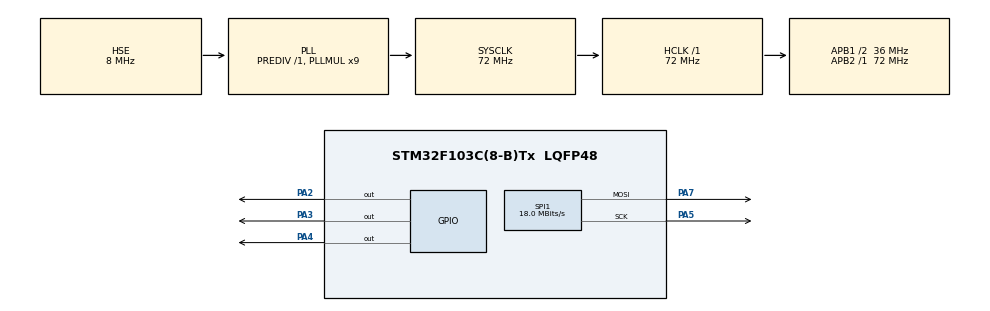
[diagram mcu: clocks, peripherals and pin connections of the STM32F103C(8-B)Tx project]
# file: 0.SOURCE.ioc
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Mcu.Family=STM32F1
Mcu.Name=STM32F103C(8-B)Tx
Mcu.Package=LQFP48
NVIC.PriorityGroup=NVIC_PRIORITYGROUP_4
PA2.Signal=GPIO_Output
PA3.Signal=GPIO_Output
PA4.Signal=GPIO_Output
PA5.Mode=TX_Only_Simplex_Unidirect_Master
PA5.Signal=SPI1_SCK
PA7.Mode=TX_Only_Simplex_Unidirect_Master
PA7.Signal=SPI1_MOSI
PD0-OSC_IN.Mode=HSE-External-Oscillator
PD0-OSC_IN.Signal=RCC_OSC_IN
PD1-OSC_OUT.Mode=HSE-External-Oscillator
PD1-OSC_OUT.Signal=RCC_OSC_OUT
ProjectManager.HeapSize=0x200
ProjectManager.StackSize=0x400
ProjectManager.TargetToolchain=MDK-ARM V5
RCC.AHBFreq_Value=72000000
RCC.APB1CLKDivider=RCC_HCLK_DIV2
RCC.APB1Freq_Value=36000000
RCC.APB1TimFreq_Value=72000000
RCC.APB2Freq_Value=72000000
RCC.APB2TimFreq_Value=72000000
RCC.HCLKFreq_Value=72000000
RCC.PLLMUL=RCC_PLL_MUL9
RCC.PLLSourceVirtual=RCC_PLLSOURCE_HSE
RCC.SYSCLKFreq_VALUE=72000000
RCC.SYSCLKSource=RCC_SYSCLKSOURCE_PLLCLK
RCC.USBFreq_Value=72000000
SPI1.BaudRatePrescaler=SPI_BAUDRATEPRESCALER_4
SPI1.CalculateBaudRate=18.0 MBits/s
SPI1.Direction=SPI_DIRECTION_2LINES
SPI1.Mode=SPI_MODE_MASTER
SPI1.VirtualType=VM_MASTER
VP_SYS_VS_ND.Mode=No_Debug
board=custom

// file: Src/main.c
/* USER CODE BEGIN Header */
/**
  ******************************************************************************
  * @file           : main.c
  * @brief          : Main program body
  ******************************************************************************
  * @attention
  *
  * <h2><center>&copy; Copyright (c) 2023 STMicroelectronics.
  * All rights reserved.</center></h2>
  *
  * This software component is licensed by ST under BSD 3-Clause license,
  * the "License"; You may not use this file except in compliance with the
  * License. You may obtain a copy of the License at:
  *                        opensource.org/licenses/BSD-3-Clause
  *
  ******************************************************************************
  */
/* USER CODE END Header */

#include "main.h"
#include "usart.h"
#include "gpio.h"
#include "oled.h"
#include "spi.h"
#include "key.h"
#include "delay.h"
#include "vl53l0x_api.h"
#include "filter.h"
#include "ST_I2C.h"

/* USER CODE BEGIN PTD */

__IO uint32_t oled_setpoint = 0;
__IO uint32_t key_setpoint = 0;
__IO uint32_t key_push_setpoint = 0;
uint8_t oled_string[20]= {0};
uint8_t key_change_long_short = 0;
uint8_t temp = 0;
uint8_t key_v, key_u, key_d , key_o;
uint8_t state = 1;

uint16_t set_distance = 400;
/* USER CODE END PTD */

void SystemClock_Config(void);
void OLED_PROC(void);
void KEY_PROC(void);
void LAST_JUDGE_PROC(void);
/* USER CODE BEGIN PFP */
//extern void VL53L0X_Init(void);
//extern uint16_t VL53L0X_GetValue(void);
/* USER CODE END PFP */

int main(void)
{

  /* MCU Configuration--------------------------------------------------------*/

  /* Reset of all peripherals, Initializes the Flash interface and the Systick. */
  HAL_Init();

  /* Configure the system clock */
  SystemClock_Config();

	delay_init(72);
  /* Initialize all configured peripherals */
  MX_GPIO_Init();
  MX_SPI1_Init();
	OLED_Init();
	OLED_Clear();

	VL53L0X_Init();

  /* Infinite loop */
  while (1)
  {

		OLED_PROC();
		KEY_PROC();
		LAST_JUDGE_PROC();
  }
}

void SystemClock_Config(void)
{
  RCC_OscInitTypeDef RCC_OscInitStruct = {0};
  RCC_ClkInitTypeDef RCC_ClkInitStruct = {0};

  /** Initializes the RCC Oscillators according to the specified parameters
  * in the RCC_OscInitTypeDef structure.
  */
  RCC_OscInitStruct.OscillatorType = RCC_OSCILLATORTYPE_HSE;
  RCC_OscInitStruct.HSEState = RCC_HSE_ON;
  RCC_OscInitStruct.HSEPredivValue = RCC_HSE_PREDIV_DIV1;
  RCC_OscInitStruct.HSIState = RCC_HSI_ON;
  RCC_OscInitStruct.PLL.PLLState = RCC_PLL_ON;
  RCC_OscInitStruct.PLL.PLLSource = RCC_PLLSOURCE_HSE;
  RCC_OscInitStruct.PLL.PLLMUL = RCC_PLL_MUL9;
  if (HAL_RCC_OscConfig(&RCC_OscInitStruct) != HAL_OK)
  {
    Error_Handler();
  }
  /** Initializes the CPU, AHB and APB buses clocks
  */
  RCC_ClkInitStruct.ClockType = RCC_CLOCKTYPE_HCLK|RCC_CLOCKTYPE_SYSCLK
                              |RCC_CLOCKTYPE_PCLK1|RCC_CLOCKTYPE_PCLK2;
  RCC_ClkInitStruct.SYSCLKSource = RCC_SYSCLKSOURCE_PLLCLK;
  RCC_ClkInitStruct.AHBCLKDivider = RCC_SYSCLK_DIV1;
  RCC_ClkInitStruct.APB1CLKDivider = RCC_HCLK_DIV2;
  RCC_ClkInitStruct.APB2CLKDivider = RCC_HCLK_DIV1;

  if (HAL_RCC_ClockConfig(&RCC_ClkInitStruct, FLASH_LATENCY_2) != HAL_OK)
  {
    Error_Handler();
  }
}

/* USER CODE BEGIN 4 */
void OLED_PROC(void)
{

	 if((uwTick - oled_setpoint) <20) return;
		oled_setpoint = uwTick;

//		sprintf((unsigned char*)oled_string , " %d  " ,++temp);
//		OLED_ShowString(0,6, oled_string);
//		sprintf((unsigned char*)oled_string , "%d " ,(int)key_scan());
//		OLED_ShowString(0,6, oled_string);

		sprintf((unsigned char*)oled_string , "%d%d%d%d " ,key_v,key_d,key_u,key_o);
		OLED_ShowString(35,0, oled_string);

//		//origin
//		sprintf((unsigned char*)oled_string , "origin:%d  " ,(VL53L0X_GetValue()));
//		OLED_ShowString(16,2, oled_string);
//
//		//filtering
//	  sprintf((unsigned char*)oled_string , "filter_a:%d  " ,smooth(VL53L0X_GetValue()));
//		OLED_ShowString(16,4, oled_string);

		//filtering
		sprintf((unsigned char*)oled_string , "filter_m:%d  " ,median(VL53L0X_GetValue()));
		OLED_ShowString(16,6, oled_string);

		sprintf((unsigned char*)oled_string , "state:%d  " ,state);
		OLED_ShowString(35,2, oled_string);
		sprintf((unsigned char*)oled_string , "dis:%d  " ,set_distance);
		OLED_ShowString(35,4, oled_string);
    OLED_ShowString(0,0, (unsigned char *)"TEST");

//		OLED_Clear();
	  if(temp>=100) temp = 0;

}
void KEY_PROC(void)
{
	 if((uwTick - key_setpoint) <50) return;
		key_setpoint = uwTick;
//
	  key_v = key_scan();
		key_d = key_v & ( key_o ^ key_v);
		key_u = ~key_v & ( key_o ^ key_v);
		key_o = key_v ;

	 if(key_d) key_push_setpoint = uwTick;

	 if(key_d == 1)
	{
		 state++;
		 if(state >= 5) state = 1;

	 }

	 if(state == 2)
	{
			 if(key_d == 2)
				 set_distance+=10;
			 if(key_d == 3)
				 set_distance-=10;

			 if((key_o==2) && (key_change_long_short==1))
			 {
				 set_distance +=10;
			 if(key_u == 2) key_change_long_short = 0;

				}

				if((key_o==3) && (key_change_long_short==1))
			 {
				 set_distance -=10;
			 if(key_u == 3) key_change_long_short = 0;

				}

			 if(set_distance<=200) set_distance = 200;
			 if(set_distance>=400) set_distance = 400;

	}

}

void LAST_JUDGE_PROC(void)
{

		if(( uwTick - key_push_setpoint)<=800)
		{
				if( key_u == 2)  key_change_long_short = 0;
				if( key_u == 3)  key_change_long_short = 0;
		}
		else
		{

			if( key_o == 2)  key_change_long_short = 1;
			if( key_o == 3)  key_change_long_short = 1;

		}

}

/* USER CODE END 4 */

void Error_Handler(void)
{
  __disable_irq();
  while (1)
  {
  }
}

/************************ (C) COPYRIGHT STMicroelectronics *****END OF FILE****/
